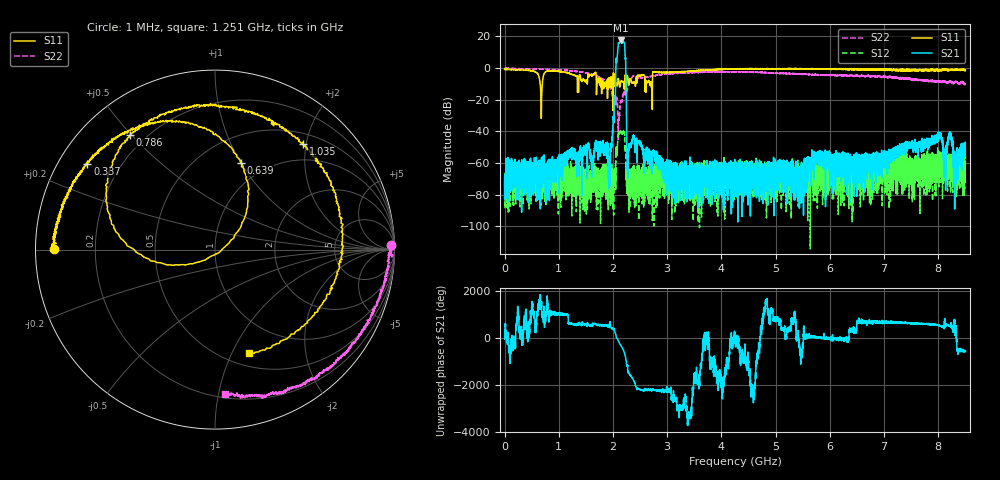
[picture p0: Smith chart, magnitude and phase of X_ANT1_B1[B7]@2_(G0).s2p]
#  HZ  S  RI  R  50.00
! Rohde & Schwarz Vector Network Analyzer
! Rohde-Schwarz,ZNBT8-20Port,1318700624101681,3.50
! Created: UTC 7/15/2025, 2:12:36 PM
! freq[Hz]  re:S1010  im:S1010  re:S0510  im:S0510  re:S1005  im:S1005  re:S55  im:S55
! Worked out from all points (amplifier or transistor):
!   8500 points, 1 MHz to 8.5 GHz, reference 50 ohm
!   highest |S21| = 17.4 dB at 2.144 GHz (marker M1)
!   |S21| within 3 dB of that: 2.095 GHz to 2.215 GHz (120 MHz wide, 5.57 % of centre)
!   unconditionally stable (mu >= 1): start of sweep to end of sweep
!   at 1.417 GHz: K = 374602.64, MAG = -54.5 dB, |S12| = -67.1 dB
!   at 4.251 GHz: K = 730250.83, MAG = -68.9 dB, |S12| = -66.7 dB
!   at 8.5 GHz: K = 74267.15, MAG = -47.9 dB, |S12| = -61.0 dB
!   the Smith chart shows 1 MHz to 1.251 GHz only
!   S11 on the Smith chart (normalised r, x): 1 MHz: 0.05, +0.00; 337 MHz: 0.08, +0.30; 639 MHz: 0.77, +1.00; 786 MHz: 0.14, +0.50; 1.035 GHz: 0.69, +1.94; 1.251 GHz: 0.64, -1.17
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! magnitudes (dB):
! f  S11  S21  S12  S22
! 1 MHz  -1.0  -69.4  -75.3  -0.2
! 337 MHz  -1.4  -75.5  -62.3  -0.6
! 639 MHz  -5.9  -59.6  -68.0  -0.8
! 786 MHz  -2.0  -69.4  -69.9  -1.0
! 1.035 GHz  -2.3  -56.8  -61.6  -1.3
! 1.251 GHz  -4.3  -53.6  -66.6  -1.9
! 1.418 GHz  -8.2  -56.1  -70.3  -2.6
! 1.948 GHz  -10.2  -57.6  -70.4  -11.8
! 2.009 GHz  -3.2  -30.9  -68.0  -25.5
! 2.089 GHz  -8.7  11.9  -45.6  -28.2
! 2.144 GHz  -8.7  17.4  -40.1  -20.8
! 2.205 GHz  -11.9  16.0  -41.3  -15.6
! 2.292 GHz  -10.3  -50.2  -74.4  -10.6
! 2.834 GHz  -2.8  -55.7  -75.8  -4.4
! 4.251 GHz  -0.6  -81.2  -66.7  -2.5
! 5.667 GHz  -0.3  -64.7  -66.1  -4.3
! 7.084 GHz  -1.0  -56.0  -65.2  -5.7
! 8.012 GHz  -1.5  -44.2  -61.6  -8.2
! 8.124 GHz  -1.1  -60.5  -64.3  -8.6
! 8.229 GHz  -1.3  -43.1  -57.5  -8.9
! 8.319 GHz  -1.2  -55.3  -70.5  -8.7
! 8.5 GHz  -1.6  -53.4  -61.0  -10.2
